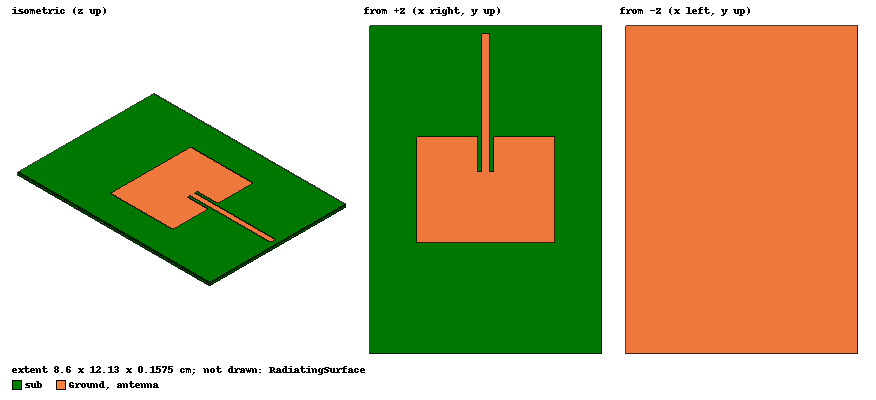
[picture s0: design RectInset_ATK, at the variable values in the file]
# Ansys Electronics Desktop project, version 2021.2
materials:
  vacuum: permittivity=1
  FR4_epoxy: permittivity=4.4 dielectric_loss_tangent=0.02

design RectInset_ATK (HFSS, DrivenTerminal, model units cm)
options: Allow_Material_Override Save_Adaptive_support_files
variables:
  # --Antenna Dimensions
  patchX = 5.07cm
  patchY = 3.94cm
  # --Substrate Dimensions
  subH = 0.1575cm
  subX = 8.6cm
  subY = 12.13cm
  # --Feed Dimensions
  InsetDistance = 1.309cm
  InsetGap = 0.153cm
  FeedWidth = 0.306cm
  FeedLength = 3.805cm
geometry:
  sub [FR4_epoxy] = box(corner=(-subX/2, -subY/2, 0cm), size=(subX, subY, subH))
  Ground = rectangle(corner=(-subX/2, -subY/2, 0cm), x_size=subX, y_size=subY)
  antenna = rectangle(corner=(-patchX/2, -patchY/2, subH), x_size=patchX, y_size=patchY)
  NewObject_UI8NR5 = rectangle(corner=(-FeedWidth/2-InsetGap, patchY/2-InsetDistance, subH), x_size=FeedWidth+2*InsetGap, y_size=FeedLength)
  antenna.subtract(NewObject_UI8NR5)
  NewObject_I92RW8 = rectangle(corner=(-FeedWidth/2, patchY/2-InsetDistance, subH), x_size=FeedWidth, y_size=FeedLength+InsetDistance)
  antenna.unite(NewObject_I92RW8)
  port1 = rectangle(corner=(-FeedWidth/2, patchY/2+FeedLength, 0cm), z_size=subH, x_size=FeedWidth)
  RadiatingSurface [vacuum] = region(absolute_offset=5.5555556cm on all sides)
  coordinate_system RelativeCS1 = origin=(-2.535cm, -1.97cm, 0.1575cm) x=(1cm, 0cm, 0cm) y=(0cm, 1cm, 0cm)
  coordinate_system RelativeCS2 = origin=(0cm, 0cm, 0cm) x=(1cm, 0cm, 0cm) y=(0cm, 1cm, 0cm) in RelativeCS1
  coordinate_system RelativeCS3 = origin=(0cm, 0cm, 0cm) x=(1cm, 0cm, 0cm) y=(0cm, 1cm, 0cm) in RelativeCS2
  coordinate_system RelativeCS4 = origin=(0cm, 0cm, 0cm) x=(1cm, 0cm, 0cm) y=(0cm, 1cm, 0cm) in RelativeCS3
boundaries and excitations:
  antennaMetal: Perfect E Objects=antenna
  groundMetal: Perfect E Objects=Ground
  Open1: Radiation Objects=RadiatingSurface
  port1_T1: Terminal port=1 Edges=port1.edge(z at corner) TerminalResistance=50ohm
  1: Lumped Port Faces=port1.face Impedance=50ohm
  reference conductors: antenna
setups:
  ATK_Solution: HfssDriven Frequency=1.8GHz MaxDeltaS=0.02 MaximumPasses=15 MinimumPasses=1 MinimumConvergedPasses=1 PercentRefinement=30 BasisOrder=1 PortAccuracy=2 IESolverType=ACA
    sweep FF_Sweep: 0.9GHz to 2.7GHz, 3 points; Type=Discrete SaveFields
    sweep SParam_Sweep: 0.9GHz to 2.7GHz, 100 points; Type=Interpolating InterpTolerance=0.5 InterpMaxSolns=250 PassivityErrorTolerance=0.0001
  Setup1: HfssDriven Frequency=1.8GHz MaxDeltaS=0.02 MaximumPasses=6 MinimumPasses=1 MinimumConvergedPasses=1 PercentRefinement=30 BasisOrder=1 PortAccuracy=2
    sweep Sweep: 0.4GHz to 4GHz step 0.0045GHz; Type=Interpolating SaveFields SaveRadFields InterpTolerance=0.5 InterpMaxSolns=250 PassivityErrorTolerance=0.0001
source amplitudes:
  1:1: 1V 0deg
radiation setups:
  Infinite Sphere1: Infinite Sphere Theta=0deg..360deg step 5deg Phi=0deg..360deg step 5deg
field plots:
  Mag_E2: E Field over a plane on ATK_Solution : LastAdaptive at Freq=1.8GHz Phase=0deg
  Mag_H1: H Field over a plane on ATK_Solution : LastAdaptive at Freq=1.8GHz Phase=0deg
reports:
  Return Loss: dB(St11) vs Freq on ATK_Solution : SParam_Sweep
  Input Impedance: St11 on ATK_Solution : SParam_Sweep [Freq=all]
  Antenna Input Impedance Real Part: re(Zo(port1_T1, port1_T1)) vs Freq on ATK_Solution : FF_Sweep
  Power Pattern: dB(rETotal) vs Theta on ATK_Solution : LastAdaptive, Infinite Sphere1 [Phi=0deg Freq=1.8GHz]; markers m1 at 320deg, m2 at 40deg
  Antenna Params Plot 1: PeakDirectivity vs Freq on ATK_Solution : LastAdaptive; markers m1 at 1.8GHz
  Antenna Params Plot 2: PeakGain vs Freq on ATK_Solution : LastAdaptive; markers m1 at 1.8GHz
  Antenna Params Plot 3: dB(PeakGain) vs Freq on ATK_Solution : LastAdaptive; markers m1 at 1.8GHz
  Antenna Params Plot 4: dB(PeakDirectivity) vs Freq on ATK_Solution : LastAdaptive; markers m1 at 1.8GHz
  Antenna Params Plot 5: BeamArea vs Freq on ATK_Solution : LastAdaptive; markers m1 at 1.8GHz
  Antenna Params Plot 6: dB(BeamArea) vs Freq on ATK_Solution : LastAdaptive; markers m1 at 1.8GHz
